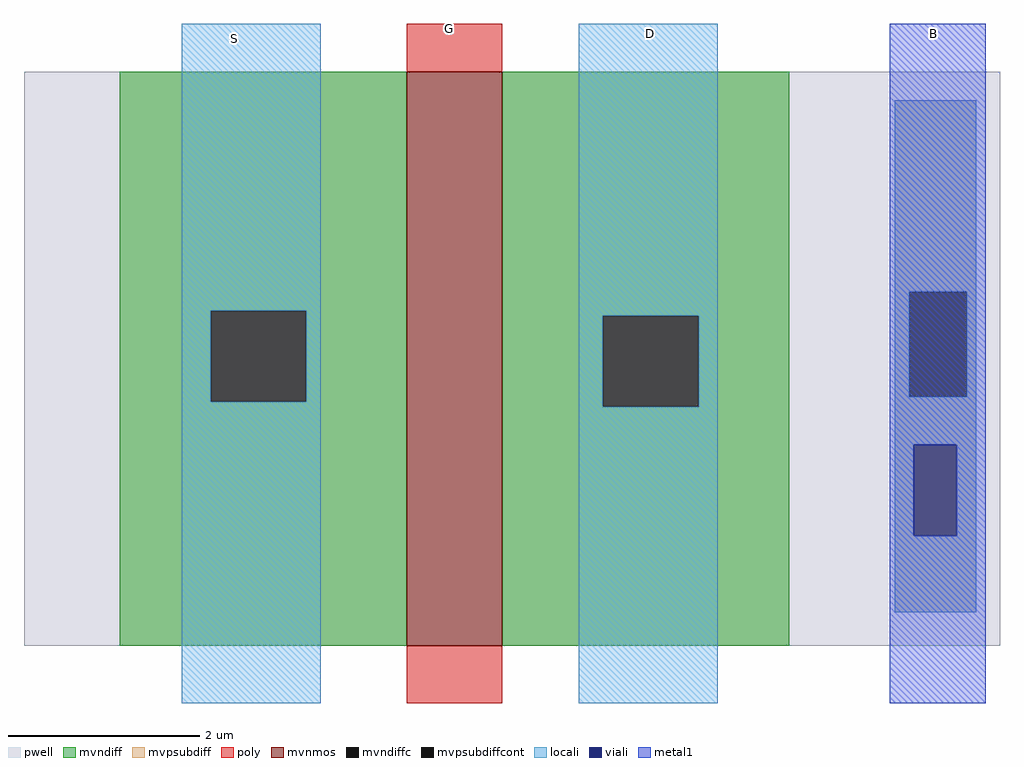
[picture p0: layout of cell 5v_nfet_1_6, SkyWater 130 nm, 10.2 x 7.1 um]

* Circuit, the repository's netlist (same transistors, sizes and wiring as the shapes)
* NGSPICE file created from 5v_nfet_1_6.ext - technology: sky130A

.subckt x5v_nfet_1_6 S G D B
X0 D G S B sky130_fd_pr__nfet_g5v0d10v5 ad=18 pd=18 as=18 ps=18 w=6 l=1
.ends

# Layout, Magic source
magic
tech sky130A
<< pwell >>
rect -400 0 620 600
<< mvnmos >>
rect 0 0 100 600
<< mvndiff >>
rect -300 350 0 600
rect -300 255 -205 350
rect -105 255 0 350
rect -300 0 0 255
rect 100 345 400 600
rect 100 250 205 345
rect 305 250 400 345
rect 100 0 400 250
<< mvndiffc >>
rect -205 255 -105 350
rect 205 250 305 345
<< mvpsubdiff >>
rect 510 370 595 570
rect 510 260 525 370
rect 585 260 595 370
rect 510 35 595 260
<< mvpsubdiffcont >>
rect 525 260 585 370
<< poly >>
rect 0 600 100 650
rect 0 -60 100 0
<< locali >>
rect -235 350 -90 650
rect -235 255 -205 350
rect -105 255 -90 350
rect -235 -60 -90 255
rect 180 345 325 650
rect 180 250 205 345
rect 305 250 325 345
rect 180 -60 325 250
rect 510 370 595 570
rect 510 260 525 370
rect 585 260 595 370
rect 510 210 595 260
rect 510 115 530 210
rect 575 115 595 210
rect 510 35 595 115
<< viali >>
rect 530 115 575 210
<< metal1 >>
rect 505 210 605 650
rect 505 115 530 210
rect 575 115 605 210
rect 505 -60 605 115
<< labels >>
rlabel locali -180 635 -180 635 1 S
port 1 n
rlabel poly 45 645 45 645 1 G
port 2 n
rlabel locali 255 640 255 640 1 D
port 3 n
rlabel metal1 550 640 550 640 1 B
port 4 n
<< end >>
